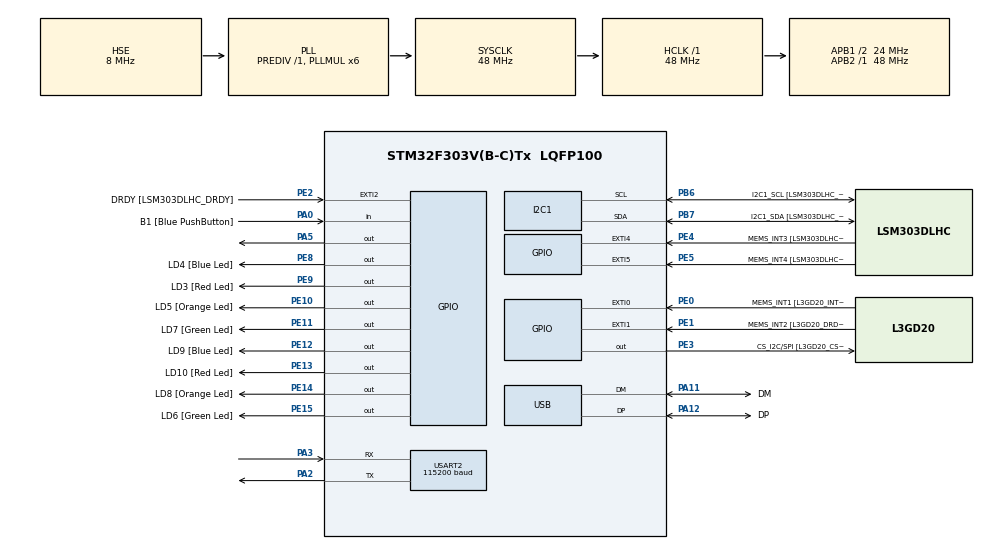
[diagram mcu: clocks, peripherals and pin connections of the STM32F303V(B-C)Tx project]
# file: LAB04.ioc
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I2C1.Timing=0x00201D2B
I2C1.Timing-I2C=0x2000090E
Mcu.Family=STM32F3
Mcu.Name=STM32F303V(B-C)Tx
Mcu.Package=LQFP100
NVIC.PriorityGroup=NVIC_PRIORITYGROUP_0
PA0.GPIO_Label=B1 [Blue PushButton]
PA0.Signal=GPIO_Input
PA11.GPIO_Label=DM
PA11.Mode=Device
PA11.Signal=USB_DM
PA12.GPIO_Label=DP
PA12.Mode=Device
PA12.Signal=USB_DP
PA13.GPIO_Label=SWDIO
PA13.Mode=Serial_Wire
PA13.Signal=SYS_JTMS-SWDIO
PA14.GPIO_Label=SWCLK
PA14.Mode=Serial_Wire
PA14.Signal=SYS_JTCK-SWCLK
PA2.Mode=Asynchronous
PA2.Signal=USART2_TX
PA3.Mode=Asynchronous
PA3.Signal=USART2_RX
PA5.Signal=GPIO_Output
PA6.GPIO_Label=SPI1_MISO [L3GD20_SA0/SDO]
PA6.Signal=SPI1_MISO
PA7.GPIO_Label=SPI1_MISO [L3GD20_SDA/SDI/SDO]
PA7.Signal=SPI1_MOSI
PB3.GPIO_Label=SWO
PB3.Signal=SYS_JTDO-TRACESWO
PB6.GPIO_Label=I2C1_SCL [LSM303DLHC_SCL]
PB6.GPIO_Pu=GPIO_PULLUP
PB6.Mode=I2C
PB6.Signal=I2C1_SCL
PB7.GPIO_Label=I2C1_SDA [LSM303DLHC_SDA]
PB7.GPIO_Pu=GPIO_PULLUP
PB7.Mode=I2C
PB7.Signal=I2C1_SDA
PC14-OSC32_IN.GPIO_Label=OSC32_IN
PC14-OSC32_IN.Signal=RCC_OSC32_IN
PC15-OSC32_OUT.GPIO_Label=OSC32_OUT
PC15-OSC32_OUT.Signal=RCC_OSC32_OUT
PE0.GPIO_Label=MEMS_INT1 [L3GD20_INT1]
PE0.GPIO_ModeDefaultEXTI=GPIO_MODE_EVT_RISING
PE0.Signal=GPXTI0
PE1.GPIO_Label=MEMS_INT2 [L3GD20_DRDY/INT2]
PE1.GPIO_ModeDefaultEXTI=GPIO_MODE_EVT_RISING
PE1.Signal=GPXTI1
PE10.GPIO_Label=LD5 [Orange Led]
PE10.Signal=GPIO_Output
PE11.GPIO_Label=LD7 [Green Led]
PE11.Signal=GPIO_Output
PE12.GPIO_Label=LD9 [Blue Led]
PE12.Signal=GPIO_Output
PE13.GPIO_Label=LD10 [Red Led]
PE13.Signal=GPIO_Output
PE14.GPIO_Label=LD8 [Orange Led]
PE14.Signal=GPIO_Output
PE15.GPIO_Label=LD6 [Green Led]
PE15.Signal=GPIO_Output
PE2.GPIO_Label=DRDY [LSM303DLHC_DRDY]
PE2.GPIO_ModeDefaultEXTI=GPIO_MODE_EVT_RISING
PE2.Signal=GPXTI2
PE3.GPIO_Label=CS_I2C/SPI [L3GD20_CS_I2C/SPI]
PE3.Signal=GPIO_Output
PE4.GPIO_Label=MEMS_INT3 [LSM303DLHC_INT1]
PE4.GPIO_ModeDefaultEXTI=GPIO_MODE_EVT_RISING
PE4.Signal=GPXTI4
PE5.GPIO_Label=MEMS_INT4 [LSM303DLHC_INT2]
PE5.GPIO_ModeDefaultEXTI=GPIO_MODE_EVT_RISING
PE5.Signal=GPXTI5
PE8.GPIO_Label=LD4 [Blue Led]
PE8.Signal=GPIO_Output
PE9.GPIO_Label=LD3 [Red Led]
PE9.Signal=GPIO_Output
PF0-OSC_IN.GPIO_Label=OSC_IN
PF0-OSC_IN.Mode=HSE-External-Clock-Source
PF0-OSC_IN.Signal=RCC_OSC_IN
PF1-OSC_OUT.GPIO_Label=OSC_OUT
PF1-OSC_OUT.Signal=RCC_OSC_OUT
ProjectManager.HeapSize=0x200
ProjectManager.StackSize=0x400
ProjectManager.TargetToolchain=CMake
RCC.AHBFreq_Value=48000000
RCC.APB1CLKDivider=RCC_HCLK_DIV2
RCC.APB1Freq_Value=24000000
RCC.APB1TimFreq_Value=48000000
RCC.APB2Freq_Value=48000000
RCC.APB2TimFreq_Value=48000000
RCC.CortexFreq_Value=48000000
RCC.HCLKFreq_Value=48000000
RCC.HSE_VALUE=8000000
RCC.HSI_VALUE=8000000
RCC.LSE_VALUE=32768
RCC.PLLMUL=RCC_PLL_MUL6
RCC.SYSCLKFreq_VALUE=48000000
RCC.SYSCLKSourceVirtual=RCC_SYSCLKSOURCE_PLLCLK
RCC.USBFreq_Value=48000000
TIM2.Prescaler=16000 - 1
USART2.BaudRate=115200
USART2.VirtualMode-Asynchronous=VM_ASYNC
VP_TIM2_VS_ClockSourceINT.Mode=Internal
board=STM32F3DISCOVERY

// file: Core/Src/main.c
/* USER CODE BEGIN Header */
/**
  ******************************************************************************
  * @file           : main.c
  * @brief          : Main program body
  ******************************************************************************
  * @attention
  *
  * Copyright (c) 2026 STMicroelectronics.
  * All rights reserved.
  *
  * This software is licensed under terms that can be found in the LICENSE file
  * in the root directory of this software component.
  * If no LICENSE file comes with this software, it is provided AS-IS.
  *
  ******************************************************************************
  */
/* USER CODE END Header */
#include "main.h"

I2C_HandleTypeDef hi2c1;

TIM_HandleTypeDef htim2;

UART_HandleTypeDef huart2;

PCD_HandleTypeDef hpcd_USB_FS;

void SystemClock_Config(void);
static void MX_GPIO_Init(void);
static void MX_I2C1_Init(void);
static void MX_TIM2_Init(void);
static void MX_USART2_UART_Init(void);
static void MX_USB_PCD_Init(void);

int main(void)
{

  /* USER CODE BEGIN 1 */
  void HAL_TIM_IC_CaptureCallback(TIM_HandleTypeDef *htim)
{
    if (htim->Instance == TIM3 &&
        htim->Channel == HAL_TIM_ACTIVE_CHANNEL_1)
    {
        uint32_t current_capture =
            HAL_TIM_ReadCapturedValue(htim, TIM_CHANNEL_1);

        if (current_capture >= last_capture)
            period = current_capture - last_capture;
        else
            period = (65535 - last_capture) + current_capture;

        last_capture = current_capture;

        // since tick = 1 µs:
        frequency = 1000000.0f / period;
    }
}

  /* USER CODE END 1 */

  /* MCU Configuration--------------------------------------------------------*/

  /* Reset of all peripherals, Initializes the Flash interface and the Systick. */
  HAL_Init();

  /* USER CODE BEGIN Init */
  SystemClock_Config();

  MX_GPIO_Init();
  MX_TIM2_Init();
  MX_USART2_UART_Init();
  /* USER CODE END Init */

  /* Configure the system clock */
  SystemClock_Config();

  /* Initialize all configured peripherals */
  MX_GPIO_Init();
  MX_I2C1_Init();
  MX_TIM2_Init();
  MX_USART2_UART_Init();
  MX_USB_PCD_Init();

  /* Infinite loop */
  while (1)
  {

  }
}

void SystemClock_Config(void)
{
  RCC_OscInitTypeDef RCC_OscInitStruct = {0};
  RCC_ClkInitTypeDef RCC_ClkInitStruct = {0};
  RCC_PeriphCLKInitTypeDef PeriphClkInit = {0};

  /** Initializes the RCC Oscillators according to the specified parameters
  * in the RCC_OscInitTypeDef structure.
  */
  RCC_OscInitStruct.OscillatorType = RCC_OSCILLATORTYPE_HSI|RCC_OSCILLATORTYPE_HSE;
  RCC_OscInitStruct.HSEState = RCC_HSE_BYPASS;
  RCC_OscInitStruct.HSEPredivValue = RCC_HSE_PREDIV_DIV1;
  RCC_OscInitStruct.HSIState = RCC_HSI_ON;
  RCC_OscInitStruct.HSICalibrationValue = RCC_HSICALIBRATION_DEFAULT;
  RCC_OscInitStruct.PLL.PLLState = RCC_PLL_ON;
  RCC_OscInitStruct.PLL.PLLSource = RCC_PLLSOURCE_HSE;
  RCC_OscInitStruct.PLL.PLLMUL = RCC_PLL_MUL6;
  if (HAL_RCC_OscConfig(&RCC_OscInitStruct) != HAL_OK)
  {
    Error_Handler();
  }

  /** Initializes the CPU, AHB and APB buses clocks
  */
  RCC_ClkInitStruct.ClockType = RCC_CLOCKTYPE_HCLK|RCC_CLOCKTYPE_SYSCLK
                              |RCC_CLOCKTYPE_PCLK1|RCC_CLOCKTYPE_PCLK2;
  RCC_ClkInitStruct.SYSCLKSource = RCC_SYSCLKSOURCE_PLLCLK;
  RCC_ClkInitStruct.AHBCLKDivider = RCC_SYSCLK_DIV1;
  RCC_ClkInitStruct.APB1CLKDivider = RCC_HCLK_DIV2;
  RCC_ClkInitStruct.APB2CLKDivider = RCC_HCLK_DIV1;

  if (HAL_RCC_ClockConfig(&RCC_ClkInitStruct, FLASH_LATENCY_1) != HAL_OK)
  {
    Error_Handler();
  }
  PeriphClkInit.PeriphClockSelection = RCC_PERIPHCLK_USB|RCC_PERIPHCLK_USART2
                              |RCC_PERIPHCLK_I2C1;
  PeriphClkInit.Usart2ClockSelection = RCC_USART2CLKSOURCE_PCLK1;
  PeriphClkInit.I2c1ClockSelection = RCC_I2C1CLKSOURCE_HSI;
  PeriphClkInit.USBClockSelection = RCC_USBCLKSOURCE_PLL;
  if (HAL_RCCEx_PeriphCLKConfig(&PeriphClkInit) != HAL_OK)
  {
    Error_Handler();
  }
}

static void MX_I2C1_Init(void)
{

  hi2c1.Instance = I2C1;
  hi2c1.Init.Timing = 0x00201D2B;
  hi2c1.Init.OwnAddress1 = 0;
  hi2c1.Init.AddressingMode = I2C_ADDRESSINGMODE_7BIT;
  hi2c1.Init.DualAddressMode = I2C_DUALADDRESS_DISABLE;
  hi2c1.Init.OwnAddress2 = 0;
  hi2c1.Init.OwnAddress2Masks = I2C_OA2_NOMASK;
  hi2c1.Init.GeneralCallMode = I2C_GENERALCALL_DISABLE;
  hi2c1.Init.NoStretchMode = I2C_NOSTRETCH_DISABLE;
  if (HAL_I2C_Init(&hi2c1) != HAL_OK)
  {
    Error_Handler();
  }

  /** Configure Analogue filter
  */
  if (HAL_I2CEx_ConfigAnalogFilter(&hi2c1, I2C_ANALOGFILTER_ENABLE) != HAL_OK)
  {
    Error_Handler();
  }

  /** Configure Digital filter
  */
  if (HAL_I2CEx_ConfigDigitalFilter(&hi2c1, 0) != HAL_OK)
  {
    Error_Handler();
  }

}

static void MX_TIM2_Init(void)
{

  TIM_ClockConfigTypeDef sClockSourceConfig = {0};
  TIM_MasterConfigTypeDef sMasterConfig = {0};

  htim2.Instance = TIM2;
  htim2.Init.Prescaler = 16000 - 1;
  htim2.Init.CounterMode = TIM_COUNTERMODE_UP;
  htim2.Init.Period = 4294967295;
  htim2.Init.ClockDivision = TIM_CLOCKDIVISION_DIV1;
  htim2.Init.AutoReloadPreload = TIM_AUTORELOAD_PRELOAD_DISABLE;
  if (HAL_TIM_Base_Init(&htim2) != HAL_OK)
  {
    Error_Handler();
  }
  sClockSourceConfig.ClockSource = TIM_CLOCKSOURCE_INTERNAL;
  if (HAL_TIM_ConfigClockSource(&htim2, &sClockSourceConfig) != HAL_OK)
  {
    Error_Handler();
  }
  sMasterConfig.MasterOutputTrigger = TIM_TRGO_RESET;
  sMasterConfig.MasterSlaveMode = TIM_MASTERSLAVEMODE_DISABLE;
  if (HAL_TIMEx_MasterConfigSynchronization(&htim2, &sMasterConfig) != HAL_OK)
  {
    Error_Handler();
  }

}

static void MX_USART2_UART_Init(void)
{

  huart2.Instance = USART2;
  huart2.Init.BaudRate = 115200;
  huart2.Init.WordLength = UART_WORDLENGTH_8B;
  huart2.Init.StopBits = UART_STOPBITS_1;
  huart2.Init.Parity = UART_PARITY_NONE;
  huart2.Init.Mode = UART_MODE_TX_RX;
  huart2.Init.HwFlowCtl = UART_HWCONTROL_NONE;
  huart2.Init.OverSampling = UART_OVERSAMPLING_16;
  huart2.Init.OneBitSampling = UART_ONE_BIT_SAMPLE_DISABLE;
  huart2.AdvancedInit.AdvFeatureInit = UART_ADVFEATURE_NO_INIT;
  if (HAL_UART_Init(&huart2) != HAL_OK)
  {
    Error_Handler();
  }

}

static void MX_USB_PCD_Init(void)
{

  hpcd_USB_FS.Instance = USB;
  hpcd_USB_FS.Init.dev_endpoints = 8;
  hpcd_USB_FS.Init.speed = PCD_SPEED_FULL;
  hpcd_USB_FS.Init.phy_itface = PCD_PHY_EMBEDDED;
  hpcd_USB_FS.Init.low_power_enable = DISABLE;
  hpcd_USB_FS.Init.battery_charging_enable = DISABLE;
  if (HAL_PCD_Init(&hpcd_USB_FS) != HAL_OK)
  {
    Error_Handler();
  }

}

static void MX_GPIO_Init(void)
{
  GPIO_InitTypeDef GPIO_InitStruct = {0};

  /* GPIO Ports Clock Enable */
  __HAL_RCC_GPIOE_CLK_ENABLE();
  __HAL_RCC_GPIOC_CLK_ENABLE();
  __HAL_RCC_GPIOF_CLK_ENABLE();
  __HAL_RCC_GPIOA_CLK_ENABLE();
  __HAL_RCC_GPIOB_CLK_ENABLE();

  /*Configure GPIO pin Output Level */
  HAL_GPIO_WritePin(GPIOE, CS_I2C_SPI_Pin|LD4_Pin|LD3_Pin|LD5_Pin
                          |LD7_Pin|LD9_Pin|LD10_Pin|LD8_Pin
                          |LD6_Pin, GPIO_PIN_RESET);

  /*Configure GPIO pin Output Level */
  HAL_GPIO_WritePin(GPIOA, GPIO_PIN_5, GPIO_PIN_RESET);

  /*Configure GPIO pins : DRDY_Pin MEMS_INT3_Pin MEMS_INT4_Pin MEMS_INT1_Pin
                           MEMS_INT2_Pin */
  GPIO_InitStruct.Pin = DRDY_Pin|MEMS_INT3_Pin|MEMS_INT4_Pin|MEMS_INT1_Pin
                          |MEMS_INT2_Pin;
  GPIO_InitStruct.Mode = GPIO_MODE_EVT_RISING;
  GPIO_InitStruct.Pull = GPIO_NOPULL;
  HAL_GPIO_Init(GPIOE, &GPIO_InitStruct);

  /*Configure GPIO pins : CS_I2C_SPI_Pin LD4_Pin LD3_Pin LD5_Pin
                           LD7_Pin LD9_Pin LD10_Pin LD8_Pin
                           LD6_Pin */
  GPIO_InitStruct.Pin = CS_I2C_SPI_Pin|LD4_Pin|LD3_Pin|LD5_Pin
                          |LD7_Pin|LD9_Pin|LD10_Pin|LD8_Pin
                          |LD6_Pin;
  GPIO_InitStruct.Mode = GPIO_MODE_OUTPUT_PP;
  GPIO_InitStruct.Pull = GPIO_NOPULL;
  GPIO_InitStruct.Speed = GPIO_SPEED_FREQ_LOW;
  HAL_GPIO_Init(GPIOE, &GPIO_InitStruct);

  /*Configure GPIO pin : B1_Pin */
  GPIO_InitStruct.Pin = B1_Pin;
  GPIO_InitStruct.Mode = GPIO_MODE_INPUT;
  GPIO_InitStruct.Pull = GPIO_NOPULL;
  HAL_GPIO_Init(B1_GPIO_Port, &GPIO_InitStruct);

  /*Configure GPIO pin : PA5 */
  GPIO_InitStruct.Pin = GPIO_PIN_5;
  GPIO_InitStruct.Mode = GPIO_MODE_OUTPUT_PP;
  GPIO_InitStruct.Pull = GPIO_NOPULL;
  GPIO_InitStruct.Speed = GPIO_SPEED_FREQ_LOW;
  HAL_GPIO_Init(GPIOA, &GPIO_InitStruct);

  /*Configure GPIO pins : SPI1_MISO_Pin SPI1_MISOA7_Pin */
  GPIO_InitStruct.Pin = SPI1_MISO_Pin|SPI1_MISOA7_Pin;
  GPIO_InitStruct.Mode = GPIO_MODE_AF_PP;
  GPIO_InitStruct.Pull = GPIO_NOPULL;
  GPIO_InitStruct.Speed = GPIO_SPEED_FREQ_HIGH;
  GPIO_InitStruct.Alternate = GPIO_AF5_SPI1;
  HAL_GPIO_Init(GPIOA, &GPIO_InitStruct);

}

void Error_Handler(void)
{
  __disable_irq();
  while (1)
  {
  }
}
